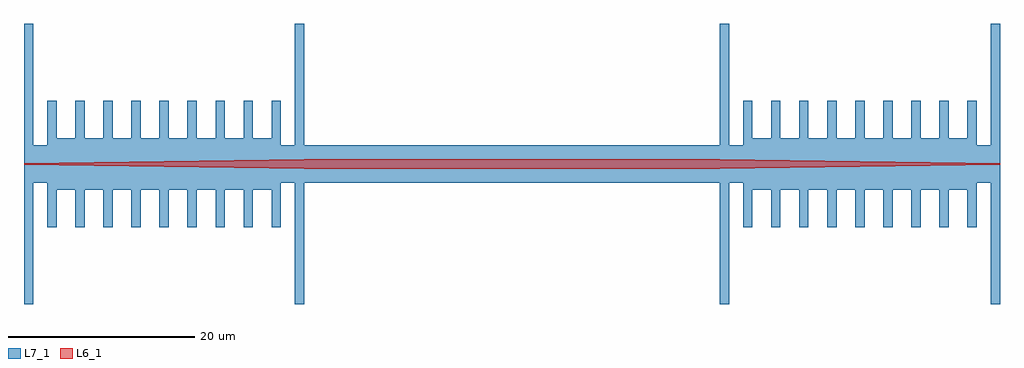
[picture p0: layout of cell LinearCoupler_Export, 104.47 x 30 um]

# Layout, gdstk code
from math import pi, radians
import gdstk
lib = gdstk.Library(unit=1e-6, precision=1e-09)
def R(c, l, rs):  # rectangles x0, y0, x1, y1
    for r in rs: c.add(gdstk.rectangle(r[:2], r[2:], *l))
def A(c, l, x, y, w, h, nx, ny, dx, dy):  # array of equal rectangles
    R(c, l, [(x+i*dx, y+j*dy, x+i*dx+w, y+j*dy+h) for i in range(nx) for j in range(ny)])
def P(c, l, *ps):  # polygons
    for p in ps: c.add(gdstk.Polygon(p, *l))
L6_1 = (6, 1)
L7_1 = (7, 1)

couplerinlet = lib.new_cell('CouplerInlet')
P(couplerinlet, L6_1, [(-33.954,47.721),(-3.954,48.146),(-3.954,47.146),(-33.954,47.571)])
R(couplerinlet, L7_1, [(-33.954,45.646,-3.954,49.646)])

anchoredcouplerinlet_woc = lib.new_cell('AnchoredCouplerInlet_woComb_Expo')
R(anchoredcouplerinlet_woc, L7_1, [(16.5,9.075,17.5,22.075), (45.5,9.075,46.5,22.075), (16.5,26.075,17.5,39.075), (45.5,26.075,46.5,39.075)])
anchoredcouplerinlet_woc.add(gdstk.Reference(couplerinlet, (50.454,-23.571)))

comb_l4w1_g500_d500_stop = lib.new_cell('Comb_L4W1_G500_D500_StoppersCent')
A(comb_l4w1_g500_d500_stop, L7_1, 19, 19.075, 1, 1.3, 9, 1, 3, 0)
A(comb_l4w1_g500_d500_stop, L7_1, 19, 19.825, 1, 4, 9, 1, 3, 0)
R(comb_l4w1_g500_d500_stop, L7_1, [(19,19.075,44,19.825)])

actuator_stopperscenter_ = lib.new_cell('Actuator_StoppersCenter_Export')
actuator_stopperscenter_.add(gdstk.Reference(anchoredcouplerinlet_woc, (45.412,-2.987)))
actuator_stopperscenter_.add(gdstk.Reference(comb_l4w1_g500_d500_stop, (108.412,38.163), rotation=pi))
actuator_stopperscenter_.add(gdstk.Reference(comb_l4w1_g500_d500_stop, (45.412,4.013)))

couplerbody = lib.new_cell('CouplerBody')
R(couplerbody, L6_1, [(55.533,23.554,100,24.554)])
R(couplerbody, L7_1, [(55.533,22.054,100,26.054)])

linearcoupler_export = lib.new_cell('LinearCoupler_Export')
linearcoupler_export.add(gdstk.Reference(actuator_stopperscenter_, (-65.287,2.987)))
linearcoupler_export.add(gdstk.Reference(actuator_stopperscenter_, (163.004,45.163), rotation=pi))
linearcoupler_export.add(gdstk.Reference(couplerbody, (-28.908,0.021)))

lib.write_gds('LinearCoupler_Export.gds')
